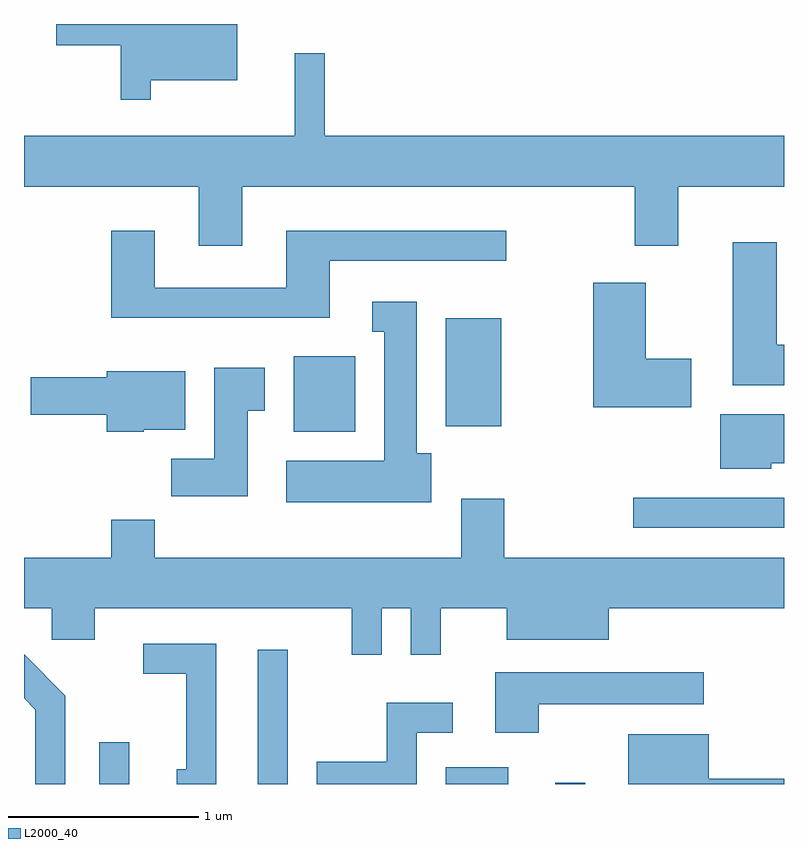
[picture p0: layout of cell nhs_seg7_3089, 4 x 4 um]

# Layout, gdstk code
import gdstk
lib = gdstk.Library(unit=1e-6, precision=1e-09)
def R(c, l, rs):  # rectangles x0, y0, x1, y1
    for r in rs: c.add(gdstk.rectangle(r[:2], r[2:], *l))
def P(c, l, *ps):  # polygons
    for p in ps: c.add(gdstk.Polygon(p, *l))
L2000_40 = (2000, 40)

nhs_seg7_3089 = lib.new_cell('nhs_seg7_3089')
R(nhs_seg7_3089, L2000_40, [(280.006,1742.252,280.164,1742.473), (280.841,1742.252,280.999,1742.958), (281.831,1742.252,282.159,1742.339), (282.406,1742.252,282.564,1742.258), (282.818,1743.601,283.611,1743.759), (281.031,1744.106,281.354,1744.504), (281.831,1744.136,282.124,1744.704)])
P(nhs_seg7_3089, L2000_40, [(280.279,1745.956),(280.734,1745.956),(280.734,1746.252),(279.781,1746.252),(279.781,1746.141),(280.121,1746.141),(280.121,1745.853),(280.279,1745.853)],
  [(280.759,1745.396),(282.826,1745.396),(282.826,1745.086),(283.054,1745.086),(283.054,1745.396),(283.611,1745.396),(283.611,1745.664),(281.194,1745.664),(281.194,1746.098),(281.036,1746.098),(281.036,1745.664),(279.611,1745.664),(279.611,1745.396),(280.531,1745.396),(280.531,1745.086),(280.759,1745.086)],
  [(281.219,1745.006),(282.148,1745.006),(282.148,1745.164),(280.991,1745.164),(280.991,1744.864),(280.299,1744.864),(280.299,1745.164),(280.071,1745.164),(280.071,1744.706),(281.219,1744.706)],
  [(283.611,1744.564),(283.574,1744.564),(283.574,1745.104),(283.341,1745.104),(283.341,1744.351),(283.611,1744.351)],
  [(283.124,1744.489),(282.884,1744.489),(282.884,1744.889),(282.606,1744.889),(282.606,1744.236),(283.124,1744.236)],
  [(281.754,1743.994),(281.679,1743.994),(281.679,1744.789),(281.443,1744.789),(281.443,1744.631),(281.506,1744.631),(281.506,1743.954),(280.991,1743.954),(280.991,1743.736),(281.754,1743.736)],
  [(280.789,1744.216),(280.879,1744.216),(280.879,1744.444),(280.611,1744.444),(280.611,1743.964),(280.386,1743.964),(280.386,1743.766),(280.789,1743.766)],
  [(280.24,1744.116),(280.459,1744.116),(280.459,1744.424),(280.046,1744.424),(280.046,1744.394),(279.646,1744.394),(279.646,1744.196),(280.046,1744.196),(280.046,1744.106),(280.24,1744.106)],
  [(283.544,1743.941),(283.611,1743.941),(283.611,1744.199),(283.276,1744.199),(283.276,1743.911),(283.544,1743.911)],
  [(280.299,1743.644),(280.071,1743.644),(280.071,1743.444),(279.611,1743.444),(279.611,1743.176),(279.756,1743.176),(279.756,1743.011),(279.984,1743.011),(279.984,1743.176),(281.336,1743.176),(281.336,1742.933),(281.494,1742.933),(281.494,1743.176),(281.646,1743.176),(281.646,1742.933),(281.804,1742.933),(281.804,1743.176),(282.151,1743.176),(282.151,1743.011),(282.689,1743.011),(282.689,1743.176),(283.611,1743.176),(283.611,1743.444),(282.139,1743.444),(282.139,1743.754),(281.911,1743.754),(281.911,1743.444),(280.299,1743.444)],
  [(280.624,1742.989),(280.238,1742.989),(280.238,1742.831),(280.466,1742.831),(280.466,1742.329),(280.416,1742.329),(280.416,1742.252),(280.624,1742.252)],
  [(279.829,1742.717),(279.611,1742.935),(279.611,1742.704),(279.671,1742.644),(279.671,1742.252),(279.829,1742.252)],
  [(282.319,1742.671),(283.188,1742.671),(283.188,1742.839),(282.091,1742.839),(282.091,1742.521),(282.319,1742.521)],
  [(281.679,1742.521),(281.868,1742.521),(281.868,1742.679),(281.521,1742.679),(281.521,1742.369),(281.151,1742.369),(281.151,1742.252),(281.679,1742.252)],
  [(283.611,1742.279),(283.214,1742.279),(283.214,1742.514),(282.791,1742.514),(282.791,1742.252),(283.611,1742.252)])

lib.write_gds('nhs_seg7_3089.gds')
